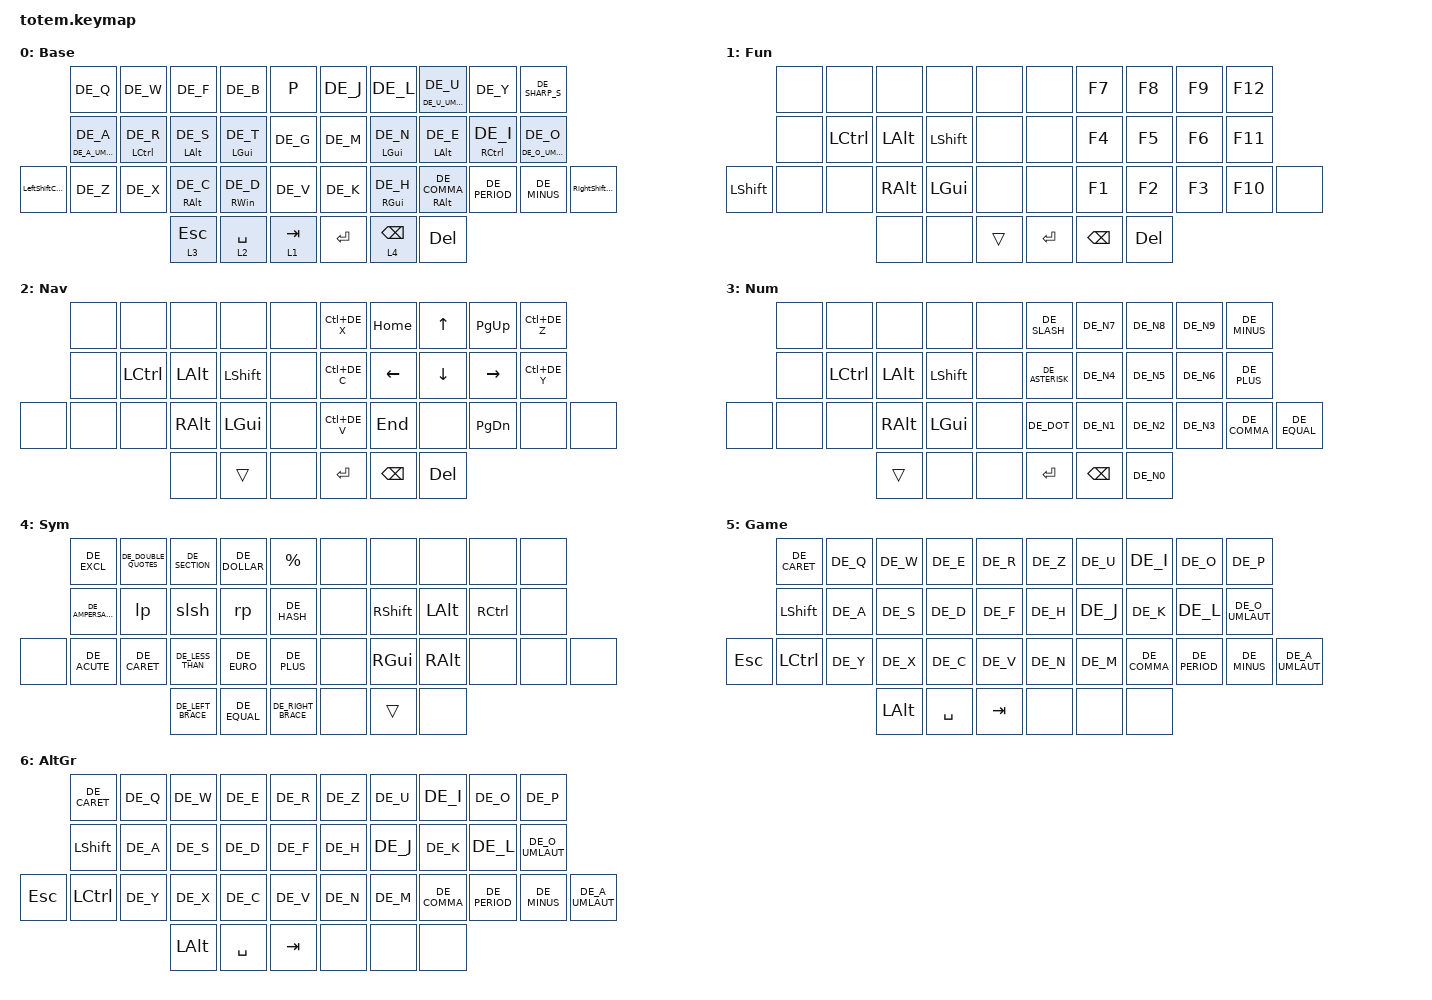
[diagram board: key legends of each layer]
//
//                                                        ▀▀▀▀▀     ▀▀▀▀▀          ▀▀█▀▀
//                                                        ▄▀▀▀▄  ▄  ▄▀▀▀▄  ▄  ▄▀▀▀▄  █  ▄▀▀▀▄
//                                                        █   █  █  █   █  █  █   █  █  █   █
//                                                         ▀▀▀   █   ▀▀▀   █   ▀▀▀   ▀   ▀▀▀
//                                                               █      ▄▄▄█▄▄▄    █   █  
//                                                               ▀      █  █  █     █▄█
//                                                             ▀▀▀▀▀    █  █  █      ▀
//                                                                      ▀  ▀  ▀
//
// ▄▄▄▄▄▄▄▄▄▄▄▄▄▄▄▄▄▄▄▄▄▄▄▄▄▄▄▄▄▄▄▄▄▄▄▄▄▄▄▄▄▄▄▄▄▄▄▄▄▄▄▄▄▄▄▄▄▄▄▄▄▄▄▄▄▄▄▄▄▄▄▄▄▄▄▄▄▄▄▄▄▄▄▄▄▄▄▄▄▄▄▄▄▄▄▄▄▄▄▄▄▄▄▄▄▄▄▄▄▄▄▄▄▄▄▄▄▄▄▄▄▄▄▄▄▄▄▄▄▄▄▄▄▄▄▄▄▄▄▄▄▄▄▄▄▄▄▄▄

#include <behaviors.dtsi>
#include <dt-bindings/zmk/keys.h>
#include "keys_de.h"

#define Base        0
#define Nav         1
#define Sym         2
#define Fun         3
#define Game        4
#define Gameplus    5

&mt {
    quick-tap-ms = <100>;
    global-quick-tap;
    flavor = "tap-preferred";
    tapping-term-ms = <170>;
};

&lt {
    tapping-term-ms = <240>;
    flavor = "balanced";
    quick-tap-ms = <150>;
};

/ {
    behaviors {
        hrml: homerow_mods_left {
            compatible = "zmk,behavior-hold-tap";
            label = "HOMEROW_MODS_LEFT";
            #binding-cells = <2>;
            flavor = "balanced";
            tapping-term-ms = <280>;
            quick-tap-ms = <175>;
            global-quick-tap;
            bindings = <&kp>, <&kp>;

            require-prior-idle-ms = <100>;
            hold-trigger-key-positions = <5 5 6 7 8 9 15 16 17 18 19 26 27 28 29 30 31 35 36 37>;
            hold-trigger-on-release;
        };

        ul: umlaut {
            compatible = "zmk,behavior-hold-tap";
            label = "UMLAUT";
            #binding-cells = <2>;
            flavor = "tap-preferred";
            tapping-term-ms = <200>;
            quick-tap-ms = <125>;
            global-quick-tap;
            bindings = <&kp>, <&kp>;
        };

        lp: left_parenthesis {
            compatible = "zmk,behavior-mod-morph";
            label = "LEFT_PARENTHESIS";
            bindings = <&kp DE_LPAR>, <&kp DE_LEFT_BRACKET>;

            #binding-cells = <0>;
            mods = <(MOD_LALT)>;
        };

        rp: right_parenthesis {
            compatible = "zmk,behavior-mod-morph";
            label = "RIGHT_PARENTHESIS";
            bindings = <&kp DE_RIGHT_PARENTHESIS>, <&kp DE_RIGHT_BRACKET>;

            #binding-cells = <0>;
            mods = <(MOD_LALT)>;
        };

        slsh: slash {
            compatible = "zmk,behavior-mod-morph";
            label = "SLASH";
            bindings = <&kp DE_SLASH>, <&kp DE_BACKSLASH>;

            #binding-cells = <0>;
            mods = <(MOD_LALT)>;
        };

        hrmr: homerow_mods_right {
            compatible = "zmk,behavior-hold-tap";
            label = "HOMEROW_MODS_RIGHT";
            #binding-cells = <2>;
            flavor = "balanced";
            tapping-term-ms = <280>;
            quick-tap-ms = <175>;
            global-quick-tap;
            bindings = <&kp>, <&kp>;

            require-prior-idle-ms = <100>;
            hold-trigger-on-release;
            hold-trigger-key-positions = <0 1 2 3 4 10 11 12 13 14 20 21 22 23 24 25 32 33 34>;
        };

        LeftShiftCaps: LeftShiftCaps {
            compatible = "zmk,behavior-tap-dance";
            label = "LSC";
            #binding-cells = <0>;
            bindings = <&sk LEFT_SHIFT>, <&kp CAPSLOCK>;
        };

        RightShiftCaps: RightShiftCaps {
            compatible = "zmk,behavior-tap-dance";
            label = "RSC";
            #binding-cells = <0>;
            bindings = <&sk RIGHT_SHIFT>, <&kp CAPSLOCK>;
        };
    };

    combos { compatible = "zmk,combos"; };

    keymap {
        compatible = "zmk,keymap";

        Base {
            display-name = "Base";
            bindings = <
                &kp DE_Q              &kp DE_W                 &kp DE_F              &kp DE_B              &kp P        &kp DE_J  &kp DE_L              &ul DE_U_UMLAUT DE_U      &kp DE_Y                  &kp DE_SHARP_S
                &ul DE_A_UMLAUT DE_A  &hrml LEFT_CONTROL DE_R  &hrml LEFT_ALT DE_S   &hrml LEFT_GUI DE_T   &kp DE_G     &kp DE_M  &hrmr LEFT_GUI DE_N   &hrmr LEFT_ALT DE_E       &hrmr RIGHT_CONTROL DE_I  &ul DE_O_UMLAUT DE_O
&LeftShiftCaps  &kp DE_Z              &kp DE_X                 &hrml RIGHT_ALT DE_C  &hrml RIGHT_WIN DE_D  &kp DE_V     &kp DE_K  &hrmr RIGHT_GUI DE_H  &hrmr RIGHT_ALT DE_COMMA  &kp DE_PERIOD             &kp DE_MINUS          &RightShiftCaps
                                                               &lt 3 ESCAPE          &lt 2 SPACE           &lt 1 TAB    &kp RET   &lt 4 BSPC            &kp DELETE
            >;
        };

        Function {
            display-name = "Fun";
            bindings = <
                &none  &none             &none          &none           &none     &none       &kp F7         &kp F8      &kp F9  &kp F12
                &none  &kp LEFT_CONTROL  &kp LEFT_ALT   &kp LEFT_SHIFT  &none     &none       &kp F4         &kp F5      &kp F6  &kp F11
&kp LEFT_SHIFT  &none  &none             &kp RIGHT_ALT  &kp LEFT_GUI    &none     &none       &kp F1         &kp F2      &kp F3  &kp F10  &none
                                         &none          &none           &trans    &kp RETURN  &kp BACKSPACE  &kp DELETE
            >;
        };

        Navigation {
            display-name = "Nav";
            bindings = <
       &none  &none             &none          &none           &none    &kp LC(DE_X)  &kp HOME        &kp UP_ARROW    &kp PAGE_UP      &kp LC(DE_Z)
       &none  &kp LEFT_CONTROL  &kp LEFT_ALT   &kp LEFT_SHIFT  &none    &kp LC(DE_C)  &kp LEFT_ARROW  &kp DOWN_ARROW  &kp RIGHT_ARROW  &kp LC(DE_Y)
&none  &none  &none             &kp RIGHT_ALT  &kp LEFT_GUI    &none    &kp LC(DE_V)  &kp END         &none           &kp PAGE_DOWN    &none         &none
                                &none          &trans          &none    &kp RETURN    &kp BACKSPACE   &kp DELETE
            >;
        };

        Numbers {
            display-name = "Num";
            bindings = <
       &none  &none             &none          &none           &none    &kp DE_SLASH     &kp DE_N7      &kp DE_N8  &kp DE_N9  &kp DE_MINUS
       &none  &kp LEFT_CONTROL  &kp LEFT_ALT   &kp LEFT_SHIFT  &none    &kp DE_ASTERISK  &kp DE_N4      &kp DE_N5  &kp DE_N6  &kp DE_PLUS
&none  &none  &none             &kp RIGHT_ALT  &kp LEFT_GUI    &none    &kp DE_DOT       &kp DE_N1      &kp DE_N2  &kp DE_N3  &kp DE_COMMA  &kp DE_EQUAL
                                &trans         &none           &none    &kp RETURN       &kp BACKSPACE  &kp DE_N0
            >;
        };

        Symbol {
            display-name = "Sym";
            bindings = <
       &kp DE_EXCL       &kp DE_DOUBLE_QUOTES  &kp DE_SECTION     &kp DE_DOLLAR  &kp PERCENT           &none  &none            &none          &none              &none
       &kp DE_AMPERSAND  &lp                   &slsh              &rp            &kp DE_HASH           &none  &kp RIGHT_SHIFT  &kp LEFT_ALT   &kp RIGHT_CONTROL  &none
&none  &kp DE_ACUTE      &kp DE_CARET          &kp DE_LESS_THAN   &kp DE_EURO    &kp DE_PLUS           &none  &kp RIGHT_GUI    &kp RIGHT_ALT  &none              &none  &none
                                               &kp DE_LEFT_BRACE  &kp DE_EQUAL   &kp DE_RIGHT_BRACE    &none  &trans           &none
            >;
        };

        Gaming {
            display-name = "Game";
            bindings = <
            &kp DE_CARET      &kp DE_Q  &kp DE_W      &kp DE_E   &kp DE_R    &kp DE_Z  &kp DE_U  &kp DE_I      &kp DE_O       &kp DE_P
            &kp LEFT_SHIFT    &kp DE_A  &kp DE_S      &kp DE_D   &kp DE_F    &kp DE_H  &kp DE_J  &kp DE_K      &kp DE_L       &kp DE_O_UMLAUT
&kp ESCAPE  &kp LEFT_CONTROL  &kp DE_Y  &kp DE_X      &kp DE_C   &kp DE_V    &kp DE_N  &kp DE_M  &kp DE_COMMA  &kp DE_PERIOD  &kp DE_MINUS     &kp DE_A_UMLAUT
                                        &kp LEFT_ALT  &kp SPACE  &kp TAB     &none     &none     &none
            >;
        };

        AltGr {
            display-name = "AltGr";
            bindings = <
            &kp DE_CARET      &kp DE_Q  &kp DE_W      &kp DE_E   &kp DE_R    &kp DE_Z  &kp DE_U  &kp DE_I      &kp DE_O       &kp DE_P
            &kp LEFT_SHIFT    &kp DE_A  &kp DE_S      &kp DE_D   &kp DE_F    &kp DE_H  &kp DE_J  &kp DE_K      &kp DE_L       &kp DE_O_UMLAUT
&kp ESCAPE  &kp LEFT_CONTROL  &kp DE_Y  &kp DE_X      &kp DE_C   &kp DE_V    &kp DE_N  &kp DE_M  &kp DE_COMMA  &kp DE_PERIOD  &kp DE_MINUS     &kp DE_A_UMLAUT
                                        &kp LEFT_ALT  &kp SPACE  &kp TAB     &none     &none     &none
            >;
        };
    };
};
